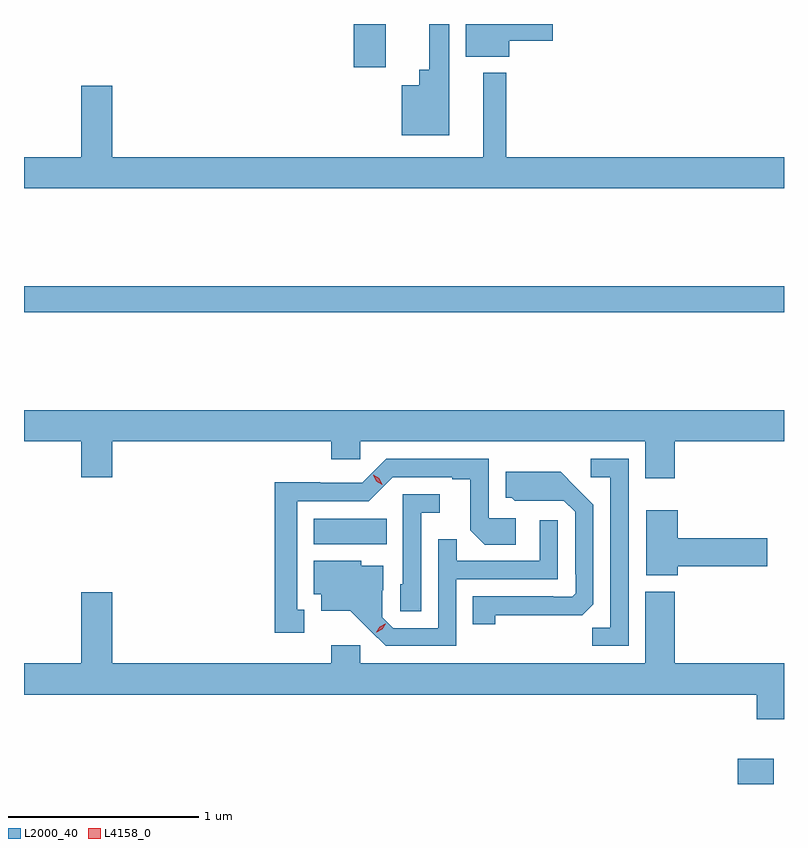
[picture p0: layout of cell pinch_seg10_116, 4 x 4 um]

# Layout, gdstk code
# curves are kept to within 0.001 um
import gdstk
lib = gdstk.Library(unit=1e-6, precision=1e-09)
def R(c, l, rs):  # rectangles x0, y0, x1, y1
    for r in rs: c.add(gdstk.rectangle(r[:2], r[2:], *l))
def P(c, l, *ps):  # polygons
    for p in ps: c.add(gdstk.Polygon(p, *l))
L2000_40 = (2000, 40)
L4158_0 = (4158, 0)

pinch_seg10_116 = lib.new_cell('pinch_seg10_116')
R(pinch_seg10_116, L2000_40, [(647.984,1307.837,648.172,1307.971), (645.752,1309.1,646.136,1309.234), (644.227,1310.32,648.227,1310.456), (645.962,1311.609,646.132,1311.837)])
P(pinch_seg10_116, L2000_40, [(646.78,1311.749),(647.011,1311.749),(647.011,1311.837),(646.553,1311.837),(646.553,1311.665),(646.78,1311.665)],
  [(646.465,1311.837),(646.361,1311.837),(646.361,1311.595),(646.307,1311.595),(646.307,1311.514),(646.214,1311.514),(646.214,1311.251),(646.465,1311.251)],
  [(648.227,1311.136),(646.765,1311.136),(646.765,1311.58),(646.643,1311.58),(646.643,1311.136),(644.692,1311.136),(644.692,1311.511),(644.528,1311.511),(644.528,1311.136),(644.227,1311.136),(644.227,1310.972),(648.227,1310.972)],
  [(644.227,1309.64),(644.528,1309.64),(644.528,1309.452),(644.692,1309.452),(644.692,1309.64),(645.845,1309.64),(645.845,1309.547),(645.996,1309.547),(645.996,1309.64),(647.498,1309.64),(647.498,1309.446),(647.651,1309.446),(647.651,1309.64),(648.227,1309.64),(648.227,1309.804),(644.227,1309.804)],
  [(647.409,1309.548),(647.211,1309.548),(647.211,1309.452),(647.313,1309.452),(647.313,1308.659),(647.218,1308.659),(647.218,1308.564),(647.409,1308.564)],
  [(645.703,1308.753),(645.664,1308.753),(645.664,1309.326),(646.041,1309.326),(646.167,1309.452),(646.481,1309.452),(646.481,1309.44),(646.575,1309.44),(646.575,1309.172),(646.651,1309.096),(646.816,1309.096),(646.816,1309.236),(646.674,1309.236),(646.674,1309.548),(646.134,1309.548),(646.008,1309.422),(645.786,1309.422),(645.786,1309.424),(645.546,1309.424),(645.546,1308.633),(645.703,1308.633)],
  [(646.707,1308.724),(647.164,1308.725),(647.223,1308.784),(647.223,1309.306),(647.051,1309.48),(646.763,1309.48),(646.763,1309.344),(646.794,1309.344),(646.81,1309.328),(647.067,1309.329),(647.127,1309.269),(647.127,1308.94),(647.13,1308.94),(647.13,1308.84),(647.112,1308.822),(647.012,1308.822),(647.012,1308.825),(646.588,1308.825),(646.588,1308.678),(646.707,1308.678)],
  [(646.317,1309.265),(646.414,1309.265),(646.414,1309.362),(646.221,1309.362),(646.221,1308.888),(646.206,1308.888),(646.206,1308.745),(646.317,1308.745)],
  [(647.668,1308.983),(648.139,1308.983),(648.139,1309.13),(647.668,1309.13),(647.668,1309.279),(647.501,1309.279),(647.501,1308.935),(647.668,1308.935)],
  [(646.503,1308.915),(647.037,1308.915),(647.037,1309.225),(646.941,1309.225),(646.941,1309.011),(646.505,1309.011),(646.505,1309.124),(646.407,1309.124),(646.407,1308.657),(646.17,1308.657),(646.113,1308.714),(646.113,1308.856),(646.117,1308.856),(646.117,1308.985),(646.002,1308.985),(646.002,1309.012),(645.752,1309.012),(645.752,1308.836),(645.791,1308.836),(645.791,1308.749),(645.943,1308.749),(646.13,1308.564),(646.503,1308.564)],
  [(648.227,1308.472),(647.651,1308.472),(647.651,1308.85),(647.498,1308.85),(647.498,1308.472),(645.996,1308.472),(645.996,1308.568),(645.845,1308.568),(645.845,1308.472),(644.692,1308.472),(644.692,1308.847),(644.528,1308.847),(644.528,1308.472),(644.227,1308.472),(644.227,1308.308),(648.083,1308.308),(648.083,1308.177),(648.227,1308.177)])
P(pinch_seg10_116, L4158_0, [(646.082,1308.635),(646.082,1308.636),(646.099,1308.665),(646.129,1308.68),(646.13,1308.68),(646.13,1308.68),(646.113,1308.651),(646.083,1308.635)],
  [(646.113,1309.412),(646.081,1309.431),(646.064,1309.464),(646.064,1309.464),(646.065,1309.464),(646.096,1309.445),(646.113,1309.412),(646.113,1309.412)])

lib.write_gds('pinch_seg10_116.gds')
